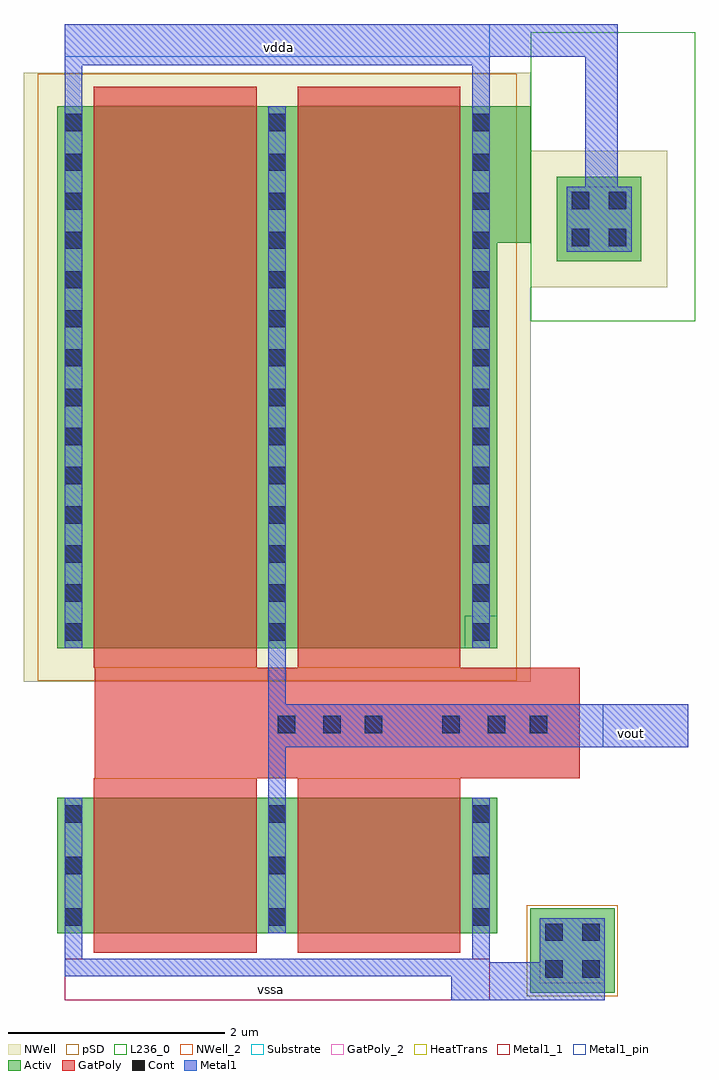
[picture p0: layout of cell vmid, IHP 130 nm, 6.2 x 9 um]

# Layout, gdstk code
from math import pi, radians
import gdstk
lib = gdstk.Library(unit=1e-6, precision=1e-09)
def R(c, l, rs):  # rectangles x0, y0, x1, y1
    for r in rs: c.add(gdstk.rectangle(r[:2], r[2:], *l))
def A(c, l, x, y, w, h, nx, ny, dx, dy):  # array of equal rectangles
    R(c, l, [(x+i*dx, y+j*dy, x+i*dx+w, y+j*dy+h) for i in range(nx) for j in range(ny)])
Activ = (1, 0)
GatPoly = (5, 0)
GatPoly_2 = (5, 2)
Cont = (6, 0)
Metal1 = (8, 0)
Metal1_1 = (8, 1)
Metal1_pin = (8, 2)
pSD = (14, 0)
NWell = (31, 0)
NWell_2 = (31, 2)
Substrate = (40, 0)
HeatTrans = (51, 0)
L236_0 = (236, 0)

ntap_4 = lib.new_cell('ntap$4')
R(ntap_4, Activ, [(0,0,0.78,0.78)])
R(ntap_4, Cont, [(0.14,0.14,0.3,0.3), (0.48,0.14,0.64,0.3), (0.14,0.48,0.3,0.64), (0.48,0.48,0.64,0.64)])
R(ntap_4, Metal1, [(0.09,0.09,0.69,0.69)])
R(ntap_4, Metal1_pin, [(0.09,0.09,0.69,0.69)])
R(ntap_4, NWell, [(-0.24,-0.24,1.02,1.02)])
R(ntap_4, NWell_2, [(0,0,0.78,0.78)])
R(ntap_4, L236_0, [(-1.334,-0.5,1.334,1.02)])
ntap_4.add(gdstk.Label('well', (0,0), layer=63, texttype=0))
ntap_4.add(gdstk.Label('[@instanceName]', (0,0.26), layer=236, texttype=1))

ptap_2 = lib.new_cell('ptap$2')
R(ptap_2, Activ, [(0,0,0.78,0.78)])
R(ptap_2, Cont, [(0.14,0.14,0.3,0.3), (0.48,0.14,0.64,0.3), (0.14,0.48,0.3,0.64), (0.48,0.48,0.64,0.64)])
R(ptap_2, Metal1, [(0.09,0.09,0.69,0.69)])
R(ptap_2, Metal1_pin, [(0.09,0.09,0.69,0.69)])
R(ptap_2, pSD, [(-0.03,-0.03,0.81,0.81)])

nmos_12 = lib.new_cell('nmos$12')
A(nmos_12, Activ, 0, 0, 0.3, 0.3, 3, 1, 1.88, 0)
R(nmos_12, Activ, [(0,0,4.06,1.25)])
R(nmos_12, GatPoly, [(0.34,-0.18,1.84,1.43), (2.22,-0.18,3.72,1.43)])
R(nmos_12, GatPoly_2, [(0.34,-0.18,1.84,1.43), (0.34,-0.18,1.84,1.43)])
A(nmos_12, Cont, 0.07, 0.07, 0.16, 0.16, 3, 3, 1.88, 0.475)
A(nmos_12, Metal1, 0.07, 0, 0.16, 1.25, 3, 1, 1.88, 0)
R(nmos_12, Metal1_pin, [(0.07,0,0.23,1.25), (0.07,0,0.23,1.25), (1.95,0,2.11,1.25), (1.95,0,2.11,1.25)])
R(nmos_12, HeatTrans, [(0.34,-0.18,1.84,1.43), (2.22,-0.18,3.72,1.43)])
nmos_12.add(gdstk.Label('nmos', (1.09,0.625), layer=51, texttype=0))
nmos_12.add(gdstk.Label('nmos', (2.97,0.625), layer=51, texttype=0))

pmos_7 = lib.new_cell('pmos$7')
A(pmos_7, Activ, 0, 0, 0.3, 0.3, 3, 1, 1.88, 0)
R(pmos_7, Activ, [(0,0,4.06,5)])
R(pmos_7, GatPoly, [(0.34,-0.18,1.84,5.18), (0.34,-0.18,1.84,5.18), (0.34,-0.18,1.84,5.18), (2.22,-0.18,3.72,5.18)])
A(pmos_7, Cont, 0.07, 0.07, 0.16, 0.16, 3, 4, 1.88, 0.36)
A(pmos_7, Cont, 0.07, 1.515, 0.16, 0.16, 3, 3, 1.88, 0.36)
A(pmos_7, Cont, 0.07, 2.6, 0.16, 0.16, 3, 3, 1.88, 0.36)
A(pmos_7, Cont, 0.07, 3.685, 0.16, 0.16, 3, 3, 1.88, 0.36)
A(pmos_7, Cont, 0.07, 4.77, 0.16, 0.16, 3, 1, 1.88, 0)
R(pmos_7, Metal1, [(0.07,0,0.23,5), (0.07,0,0.23,5), (0.07,0,0.23,5), (1.95,0,2.11,5), (1.95,0,2.11,5), (1.95,0,2.11,5), (3.83,0,3.99,5)])
R(pmos_7, pSD, [(-0.18,-0.3,4.24,5.3)])
R(pmos_7, NWell, [(-0.31,-0.31,4.37,5.31)])
R(pmos_7, Substrate, [(3.76,0,4.06,0.3), (3.76,0,4.06,0.3)])
R(pmos_7, HeatTrans, [(0.34,-0.18,1.84,5.18), (2.22,-0.18,3.72,5.18)])
pmos_7.add(gdstk.Label('pmos', (1.09,2.5), layer=51, texttype=0))
pmos_7.add(gdstk.Label('pmos', (2.97,2.5), layer=51, texttype=0))
pmos_7.add(gdstk.Label('pmos', (1.09,2.5), layer=63, texttype=0))

vmid = lib.new_cell('vmid')
R(vmid, Activ, [(4.37,6.565,4.68,7.825)])
R(vmid, GatPoly, [(0.655,1.625,5.13,2.645)])
R(vmid, Cont, [(2.345,2.041,2.505,2.201), (2.765,2.041,2.925,2.201), (3.15,2.041,3.31,2.201), (3.865,2.041,4.025,2.201), (4.285,2.041,4.445,2.201), (4.67,2.041,4.83,2.201)])
R(vmid, Metal1, [(2.266,1.91,6.135,2.31), (0.38,8.205,4.3,8.585)])
R(vmid, Metal1_1, [(0.38,-0.42,4.3,-0.04)])
vmid.add(gdstk.FlexPath([(4.22,7.48),(4.22,8.32)], 0.16, ends="flush", simple_path=True, layer=8, datatype=0))  # Metal1
vmid.add(gdstk.FlexPath([(0.46,7.585),(0.46,8.42)], 0.16, ends="flush", simple_path=True, layer=8, datatype=0))  # Metal1
vmid.add(gdstk.FlexPath([(2.34,1.855),(2.34,2.83)], 0.16, ends="flush", simple_path=True, layer=8, datatype=0))  # Metal1
vmid.add(gdstk.FlexPath([(2.34,1.005),(2.34,2.22)], 0.16, ends="flush", simple_path=True, layer=8, datatype=0))  # Metal1
vmid.add(gdstk.FlexPath([(4.015,8.435),(5.335,8.435),(5.335,6.705)], 0.3, ends="flush", simple_path=True, layer=8, datatype=0))  # Metal1
vmid.add(gdstk.FlexPath([(0.46,0.195),(0.46,-0.12),(4.22,-0.12),(4.22,0.195)], 0.16, ends="flush", simple_path=True, layer=8, datatype=0))  # Metal1
vmid.add(gdstk.FlexPath([(3.945,-0.245),(5.365,-0.245)], 0.35, ends="flush", simple_path=True, layer=8, datatype=0))  # Metal1
vmid.add(gdstk.FlexPath([(0.38,8.435),(4.3,8.435)], 0.3, ends="flush", simple_path=True, layer=8, datatype=2))  # Metal1_pin
vmid.add(gdstk.FlexPath([(6.135,2.11),(5.345,2.11)], 0.4, ends="flush", simple_path=True, layer=8, datatype=2))  # Metal1_pin
vmid.add(gdstk.Reference(ntap_4, (5.7,7.175), rotation=3*pi/2, x_reflection=True))
vmid.add(gdstk.Reference(ptap_2, (4.675,-0.355)))
vmid.add(gdstk.Reference(nmos_12, (0.31,0.195)))
vmid.add(gdstk.Reference(pmos_7, (0.31,2.825)))
vmid.add(gdstk.Label('vdda', (2.355,8.37), layer=8, texttype=1))
vmid.add(gdstk.Label('vout', (5.605,2.04), layer=8, texttype=1))
vmid.add(gdstk.Label('vssa', (2.275,-0.325), layer=8, texttype=1))

lib.write_gds('vmid.gds')
